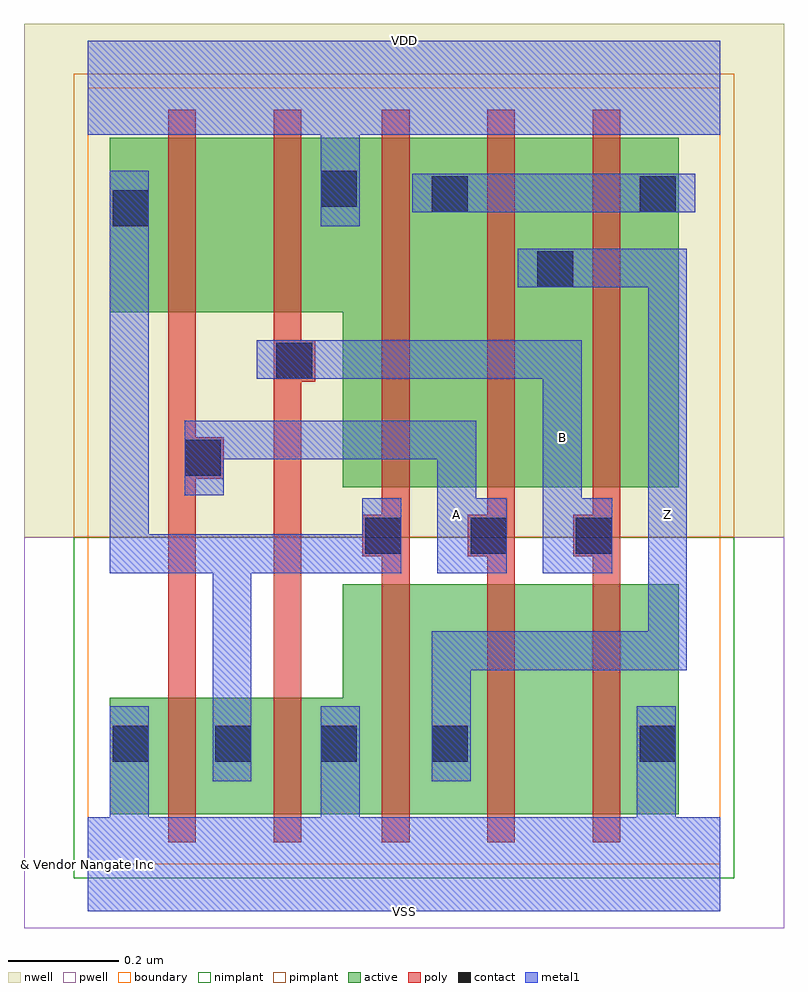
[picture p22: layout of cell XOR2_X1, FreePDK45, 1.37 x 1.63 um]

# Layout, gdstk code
import gdstk
lib = gdstk.Library(unit=1e-6, precision=1e-10)
def R(c, l, rs):  # rectangles x0, y0, x1, y1
    for r in rs: c.add(gdstk.rectangle(r[:2], r[2:], *l))
def A(c, l, x, y, w, h, nx, ny, dx, dy):  # array of equal rectangles
    R(c, l, [(x+i*dx, y+j*dy, x+i*dx+w, y+j*dy+h) for i in range(nx) for j in range(ny)])
def P(c, l, *ps):  # polygons
    for p in ps: c.add(gdstk.Polygon(p, *l))
active = (1, 0)
pwell = (2, 0)
nwell = (3, 0)
nimplant = (4, 0)
pimplant = (5, 0)
poly = (9, 0)
contact = (10, 0)
metal1 = (11, 0)
boundary = (235, 0)

xor2_x1 = lib.new_cell('XOR2_X1')
P(xor2_x1, active, [(0.04,0.09),(1.065,0.09),(1.065,0.505),(0.46,0.505),(0.46,0.3),(0.04,0.3)],
  [(0.04,0.995),(0.46,0.995),(0.46,0.68),(1.065,0.68),(1.065,1.31),(0.04,1.31)])
R(xor2_x1, pwell, [(-0.115,-0.115,1.255,0.59)])
R(xor2_x1, nwell, [(-0.115,0.59,1.255,1.515)])
R(xor2_x1, nimplant, [(-0.025,-0.025,1.165,0.59)])
R(xor2_x1, pimplant, [(-0.025,0.59,1.165,1.425)])
P(xor2_x1, poly, [(0.145,0.04),(0.195,0.04),(0.195,0.695),(0.245,0.695),(0.245,0.77),(0.195,0.77),(0.195,1.36),(0.145,1.36)],
  [(0.335,0.04),(0.385,0.04),(0.385,0.87),(0.41,0.87),(0.41,0.945),(0.385,0.945),(0.385,1.36),(0.335,1.36)],
  [(0.495,0.555),(0.53,0.555),(0.53,0.04),(0.58,0.04),(0.58,1.36),(0.53,1.36),(0.53,0.63),(0.495,0.63)],
  [(0.685,0.555),(0.72,0.555),(0.72,0.04),(0.77,0.04),(0.77,1.36),(0.72,1.36),(0.72,0.63),(0.685,0.63)],
  [(0.875,0.555),(0.91,0.555),(0.91,0.04),(0.96,0.04),(0.96,1.36),(0.91,1.36),(0.91,0.63),(0.875,0.63)])
A(xor2_x1, contact, 0.5, 0.56, 0.065, 0.065, 3, 1, 0.19, 0)
R(xor2_x1, contact, [(0.045,0.185,0.11,0.25), (0.23,0.185,0.295,0.25), (0.42,0.185,0.485,0.25), (0.62,0.185,0.685,0.25), (0.995,0.185,1.06,0.25), (0.175,0.7,0.24,0.765), (0.34,0.875,0.405,0.94), (0.81,1.04,0.875,1.105), (0.045,1.15,0.11,1.215), (0.62,1.175,0.685,1.24), (0.995,1.175,1.06,1.24), (0.42,1.185,0.485,1.25)])
R(xor2_x1, metal1, [(0.585,1.175,1.095,1.245)])
P(xor2_x1, metal1, [(0.04,0.525),(0.225,0.525),(0.225,0.15),(0.295,0.15),(0.295,0.525),(0.565,0.525),(0.565,0.66),(0.495,0.66),(0.495,0.595),(0.11,0.595),(0.11,1.25),(0.04,1.25)],
  [(0.175,0.665),(0.245,0.665),(0.245,0.73),(0.63,0.73),(0.63,0.525),(0.755,0.525),(0.755,0.66),(0.7,0.66),(0.7,0.8),(0.175,0.8)],
  [(0.305,0.875),(0.82,0.875),(0.82,0.525),(0.945,0.525),(0.945,0.66),(0.89,0.66),(0.89,0.945),(0.305,0.945)],
  [(0.775,1.04),(1.01,1.04),(1.01,0.42),(0.62,0.42),(0.62,0.15),(0.69,0.15),(0.69,0.35),(1.08,0.35),(1.08,1.11),(0.775,1.11)],
  [(0,-0.085),(1.14,-0.085),(1.14,0.085),(1.06,0.085),(1.06,0.285),(0.99,0.285),(0.99,0.085),(0.49,0.085),(0.49,0.285),(0.42,0.285),(0.42,0.085),(0.11,0.085),(0.11,0.285),(0.04,0.285),(0.04,0.085),(0,0.085)],
  [(0,1.315),(0.42,1.315),(0.42,1.15),(0.49,1.15),(0.49,1.315),(1.14,1.315),(1.14,1.485),(0,1.485)])
R(xor2_x1, boundary, [(0,0,1.14,1.4)])
xor2_x1.add(gdstk.Label('A', (0.665,0.63), layer=11, texttype=0))
xor2_x1.add(gdstk.Label('B', (0.855,0.77), layer=11, texttype=0))
xor2_x1.add(gdstk.Label('VDD', (0.57,1.485), layer=11, texttype=0))
xor2_x1.add(gdstk.Label('VSS', (0.57,-0.085), layer=11, texttype=0))
xor2_x1.add(gdstk.Label('Z', (1.045,0.63), layer=11, texttype=0))
xor2_x1.add(gdstk.Label('& Vendor Nangate Inc', (0,0), layer=63, texttype=63))
xor2_x1.add(gdstk.Label('& Product Open Cell Library', (0,0), layer=63, texttype=63))
xor2_x1.add(gdstk.Label('& Version 2010_12', (0,0), layer=63, texttype=63))
xor2_x1.add(gdstk.Label('& Instance XOR2_X1', (0,0), layer=63, texttype=63))

lib.write_gds('XOR2_X1.gds')
